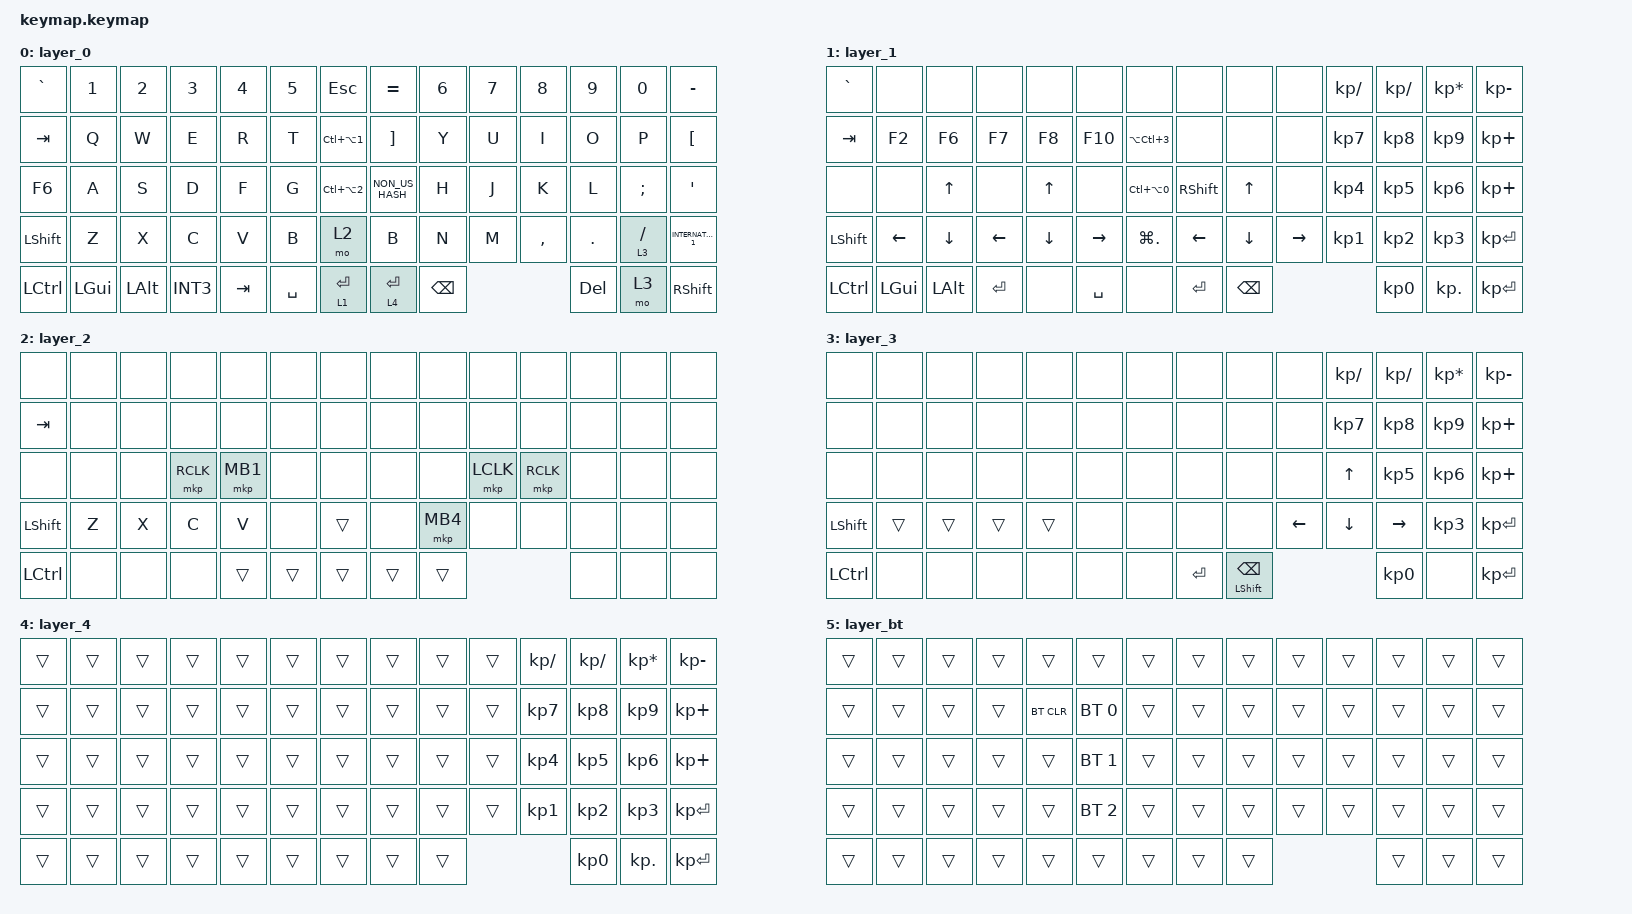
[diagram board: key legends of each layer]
#include <behaviors.dtsi>
#include <dt-bindings/zmk/bt.h>
#include <dt-bindings/zmk/keys.h>
#include <dt-bindings/zmk/pointing.h>

/ {
    combos {
        compatible = "zmk,combos";

        LeftMiddleClick {
            bindings = <&mkp MCLK>;
            key-positions = <38 37>;
        };

        JP {
            bindings = <&kp LANGUAGE_1>;
            key-positions = <52 51>;
        };

        EN {
            bindings = <&kp LANGUAGE_2>;
            key-positions = <45 46>;
        };

        LayerCombo {
            bindings = <&mo 5>;
            key-positions = <48 62>;
        };

        MouseScrollDownLeft {
            bindings = <&msc MOVE_Y(-15)>;
            key-positions = <32 31 30>;
        };

        MouseScrollRightLeft {
            bindings = <&msc SCRL_RIGHT>;
            key-positions = <31 32 33>;
        };
    };

    behaviors {
        /* ↓↓ これが tog_off の正体（設計図）です ↓↓ */

        tog_off: toggle_layer_off {
            compatible = "zmk,behavior-toggle-layer";
            #binding-cells = <1>;
            toggle-mode = "off"; /* ここが重要！「オフにする専用」の設定 */
        };
    };

    keymap {
        compatible = "zmk,keymap";

        layer_0 {
            bindings = <
&kp GRAVE         &kp NUMBER_1  &kp NUMBER_2  &kp NUMBER_3  &kp NUMBER_4  &kp NUMBER_5  &kp ESCAPE            &kp EQUAL          &kp NUMBER_6   &kp NUMBER_7  &kp NUMBER_8  &kp NUMBER_9  &kp NUMBER_0   &kp MINUS
&kp TAB           &kp Q         &kp W         &kp E         &kp R         &kp T         &kp LC(LA(NUMBER_1))  &kp RIGHT_BRACKET  &kp Y          &kp U         &kp I         &kp O         &kp P          &kp LEFT_BRACKET
&kp F6            &kp A         &kp S         &kp D         &kp F         &kp G         &kp LC(LA(NUMBER_2))  &kp NON_US_HASH    &kp H          &kp J         &kp K         &kp L         &kp SEMICOLON  &kp APOSTROPHE
&kp LEFT_SHIFT    &kp Z         &kp X         &kp C         &kp V         &kp B         &mo 2                 &kp B              &kp N          &kp M         &kp COMMA     &kp PERIOD    &lt 3 SLASH    &kp INTERNATIONAL_1
&kp LEFT_CONTROL  &kp LEFT_GUI  &kp LEFT_ALT  &kp INT3      &kp TAB       &kp SPACE     &lt 1 ENTER           &lt 4 ENTER        &kp BACKSPACE                              &kp DELETE    &mo 3          &kp RIGHT_SHIFT
            >;
        };

        layer_1 {
            bindings = <
&kp GRAVE       &none           &none           &none           &none           &none            &none                 &none            &none           &none            &kp KP_SLASH     &kp KP_SLASH     &kp KP_ASTERISK  &kp KP_MINUS
&kp TAB         &kp F2          &kp F6          &kp F7          &kp F8          &kp F10          &kp LA(LC(NUMBER_3))  &none            &none           &none            &kp KP_NUMBER_7  &kp KP_NUMBER_8  &kp KP_NUMBER_9  &kp KP_PLUS
&none           &none           &kp UP_ARROW    &none           &kp UP_ARROW    &none            &kp LC(LA(N0))        &kp RIGHT_SHIFT  &kp UP_ARROW    &none            &kp KP_N4        &kp KP_NUMBER_5  &kp KP_NUMBER_6  &kp KP_PLUS
&kp LEFT_SHIFT  &kp LEFT_ARROW  &kp DOWN_ARROW  &kp LEFT_ARROW  &kp DOWN_ARROW  &kp RIGHT_ARROW  &kp LG(PERIOD)        &kp LEFT_ARROW   &kp DOWN_ARROW  &kp RIGHT_ARROW  &kp KP_N1        &kp KP_N2        &kp KP_NUMBER_3  &kp KP_ENTER
&kp LCTRL       &kp LEFT_GUI    &kp LEFT_ALT    &kp ENTER       &none           &kp SPACE        &none                 &kp ENTER        &kp BACKSPACE                                     &kp KP_NUMBER_0  &kp KP_DOT       &kp KP_ENTER
            >;
        };

        layer_2 {
            bindings = <
&none           &none  &none  &none      &none     &none   &none   &none   &none     &none      &none      &none  &none  &none
&kp TAB         &none  &none  &none      &none     &none   &none   &none   &none     &none      &none      &none  &none  &none
&none           &none  &none  &mkp RCLK  &mkp MB1  &none   &none   &none   &none     &mkp LCLK  &mkp RCLK  &none  &none  &none
&kp LEFT_SHIFT  &kp Z  &kp X  &kp C      &kp V     &none   &trans  &none   &mkp MB4  &none      &none      &none  &none  &none
&kp LCTRL       &none  &none  &none      &trans    &trans  &trans  &trans  &trans                          &none  &none  &none
            >;
        };

        layer_3 {
            bindings = <
&none           &none   &none   &none   &none   &none  &none  &none      &none                     &none           &kp KP_SLASH    &kp KP_SLASH     &kp KP_MULTIPLY  &kp KP_MINUS
&none           &none   &none   &none   &none   &none  &none  &none      &none                     &none           &kp KP_N7       &kp KP_N8        &kp KP_N9        &kp KP_PLUS
&none           &none   &none   &none   &none   &none  &none  &none      &none                     &none           &kp UP_ARROW    &kp KP_N5        &kp KP_N6        &kp KP_PLUS
&kp LEFT_SHIFT  &trans  &trans  &trans  &trans  &none  &none  &none      &none                     &kp LEFT_ARROW  &kp DOWN_ARROW  &kp RIGHT_ARROW  &kp KP_NUMBER_3  &kp KP_ENTER
&kp LCTRL       &none   &none   &none   &none   &none  &none  &kp ENTER  &mt LEFT_SHIFT BACKSPACE                                  &kp KP_N0        &none            &kp KP_ENTER
            >;
        };

        layer_4 {
            bindings = <
&trans  &trans  &trans  &trans  &trans  &trans  &trans  &trans  &trans  &trans  &kp KP_SLASH  &kp KP_SLASH  &kp KP_MULTIPLY  &kp KP_MINUS
&trans  &trans  &trans  &trans  &trans  &trans  &trans  &trans  &trans  &trans  &kp KP_N7     &kp KP_N8     &kp KP_N9        &kp KP_PLUS
&trans  &trans  &trans  &trans  &trans  &trans  &trans  &trans  &trans  &trans  &kp KP_N4     &kp KP_N5     &kp KP_N6        &kp KP_PLUS
&trans  &trans  &trans  &trans  &trans  &trans  &trans  &trans  &trans  &trans  &kp KP_N1     &kp KP_N2     &kp KP_N3        &kp KP_ENTER
&trans  &trans  &trans  &trans  &trans  &trans  &trans  &trans  &trans                        &kp KP_N0     &kp KP_DOT       &kp KP_ENTER
            >;
        };

        layer_bt {
            bindings = <
&trans  &trans  &trans  &trans  &trans      &trans        &trans  &trans  &trans  &trans  &trans  &trans  &trans  &trans
&trans  &trans  &trans  &trans  &bt BT_CLR  &bt BT_SEL 0  &trans  &trans  &trans  &trans  &trans  &trans  &trans  &trans
&trans  &trans  &trans  &trans  &trans      &bt BT_SEL 1  &trans  &trans  &trans  &trans  &trans  &trans  &trans  &trans
&trans  &trans  &trans  &trans  &trans      &bt BT_SEL 2  &trans  &trans  &trans  &trans  &trans  &trans  &trans  &trans
&trans  &trans  &trans  &trans  &trans      &trans        &trans  &trans  &trans                  &trans  &trans  &trans
            >;
        };
    };
};
